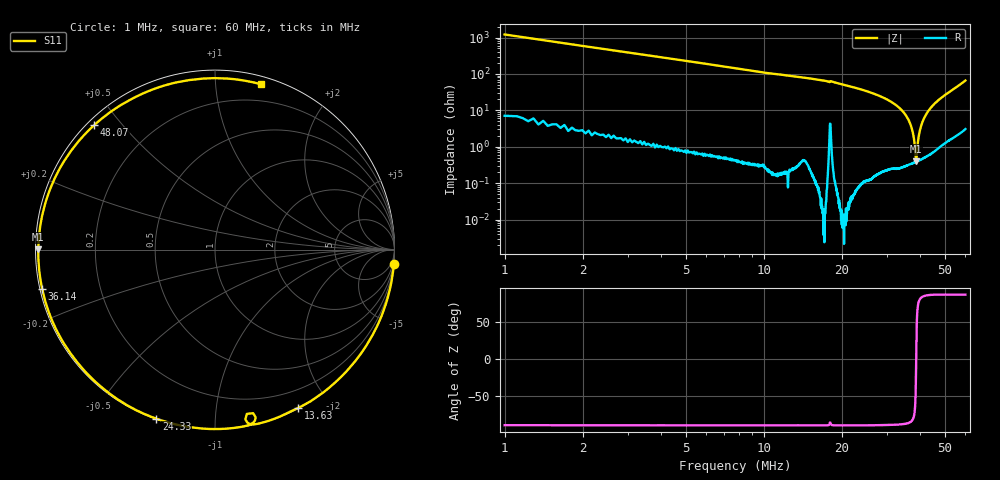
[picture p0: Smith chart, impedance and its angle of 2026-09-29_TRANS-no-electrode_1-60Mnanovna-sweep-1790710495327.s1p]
! NanoVNA Web complex sweep
! Processing: unaveraged complex samples; linear segment spacing; no smoothing
# Hz S RI R 50
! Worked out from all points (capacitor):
!   1010 points, 1 MHz to 60 MHz, reference 50 ohm
!   read as one part to ground: C = 135 pF near 1.292 MHz
!   lowest |Z| = 395 mohm at 38.77 MHz (marker M1)
!   series resonance near 38.75 MHz, so ESL is about 130 nH
!   S11 on the Smith chart (normalised r, x): 1 MHz: 0, -24; 13.63 MHz: 0.01, -1.65; 24.33 MHz: 0.00, -0.71; 36.14 MHz: 0.01, -0.11; 48.07 MHz: 0.02, +0.42; 60 MHz: 0.06, +1.32
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1000000  0.9961 -0.0822
2754220  0.9715 -0.2329
4625388  0.9208 -0.3869
8426198  0.7458 -0.6636
1.018042e7  0.6405 -0.7656
1.363038e7  0.463 -0.8827
1.579392e7  0.3438 -0.9377
1.772356e7  0.2097 -0.9737
1.807441e7  0.2123 -0.9113
1.836678e7  0.1997 -0.9726
1.889304e7  0.1446 -0.988
2.029642e7  0.0189 -0.9997
2.316165e7  -0.2293 -0.9715
2.433113e7  -0.3263 -0.9423
2.737177e7  -0.5579 -0.8235
3.052937e7  -0.7561 -0.6415
3.33946e7  -0.8884 -0.4375
3.614287e7  -0.9632 -0.2177
3.789709e7  -0.983 -0.0714
3.87742e7  -0.9845 0.00252
4.19318e7  -0.9439 0.2642
4.526482e7  -0.8244 0.5181
4.807157e7  -0.672 0.6944
5.035206e7  -0.5219 0.807
5.263254e7  -0.3544 0.8893
5.444524e7  -0.2103 0.9326
5.637488e7  -0.0509 0.9539
6.000027e7  0.2587 0.9205
